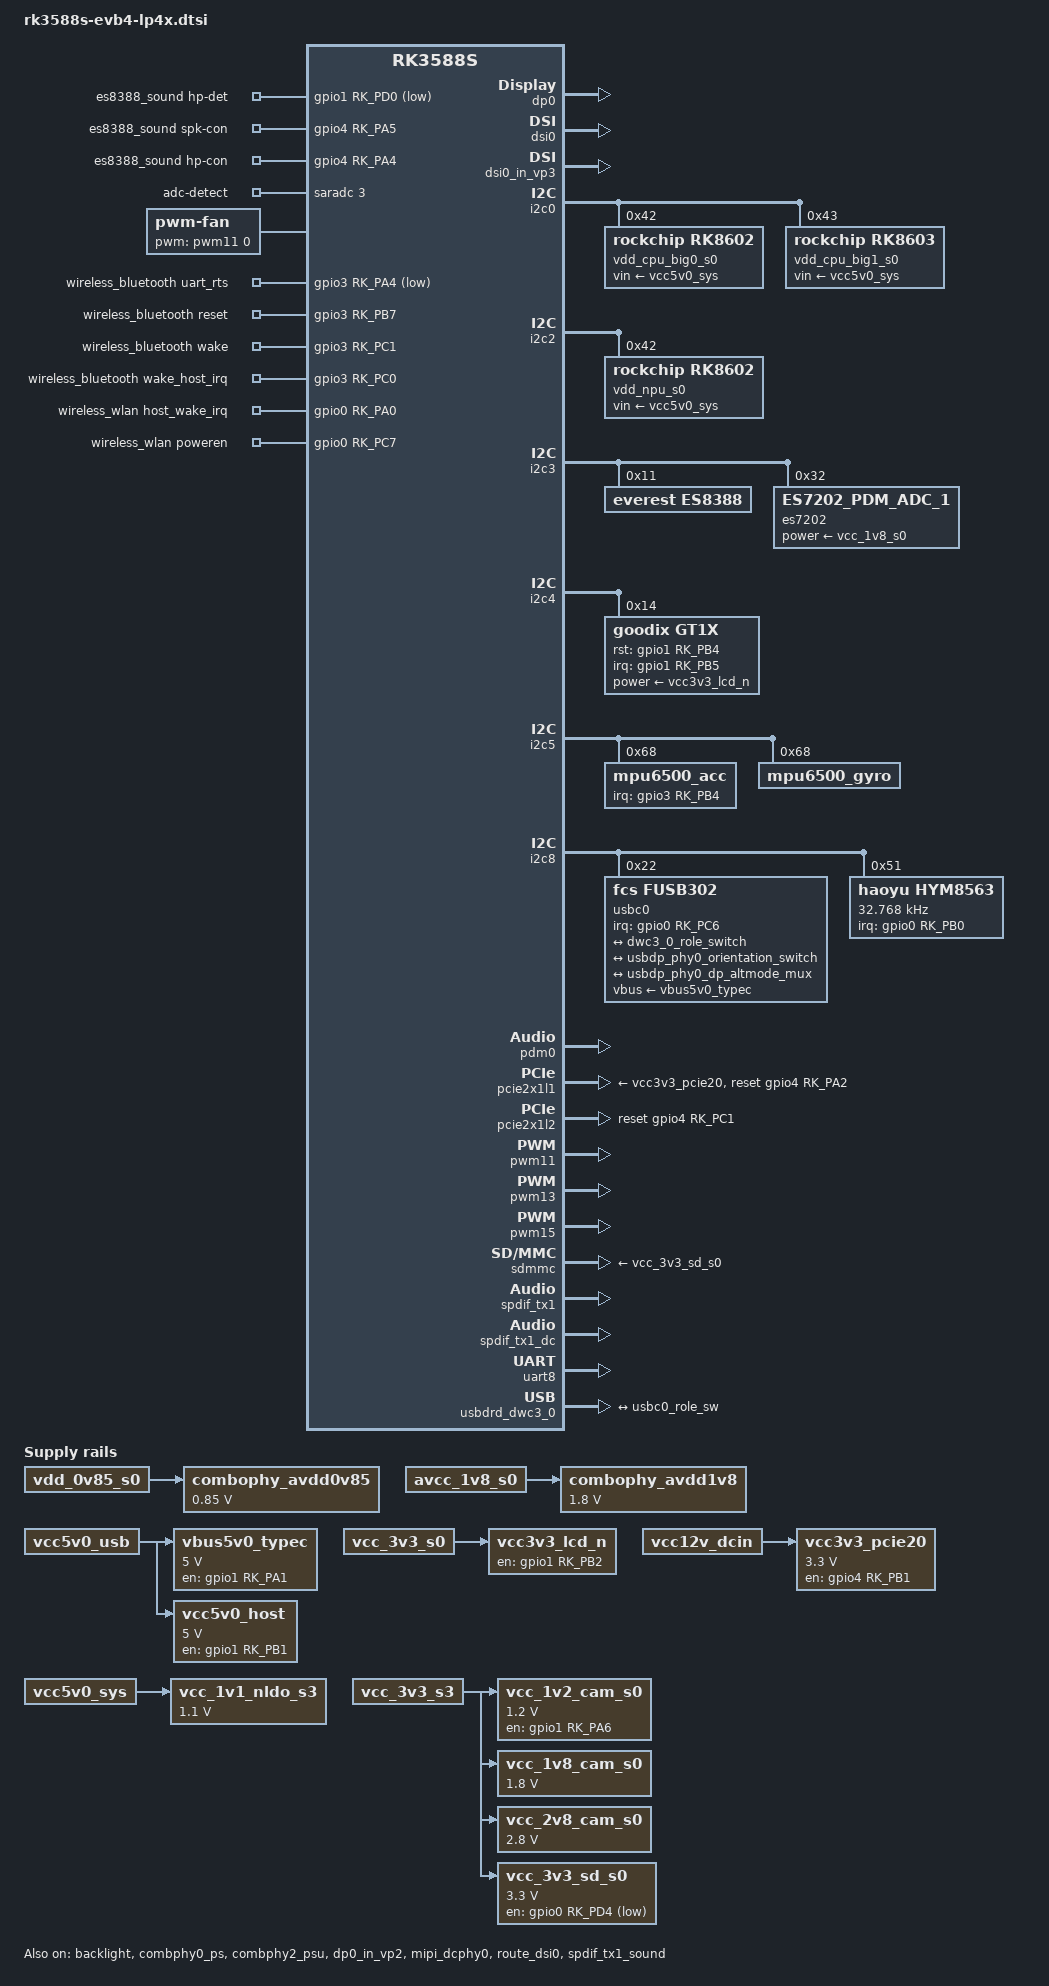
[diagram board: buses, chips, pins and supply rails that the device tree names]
// SPDX-License-Identifier: (GPL-2.0+ OR MIT)
/*
 * Copyright (c) 2021 Rockchip Electronics Co., Ltd.
 *
 */

#include "dt-bindings/usb/pd.h"
#include "rk3588s.dtsi"
#include "rk3588s-evb.dtsi"
#include "rk3588-rk806-single.dtsi"

/ {
	combophy_avdd0v85: combophy-avdd0v85 {
		compatible = "regulator-fixed";
		regulator-name = "combophy_avdd0v85";
		regulator-boot-on;
		regulator-always-on;
		regulator-min-microvolt = <850000>;
		regulator-max-microvolt = <850000>;
		vin-supply = <&vdd_0v85_s0>;
	};

	combophy_avdd1v8: combophy-avdd1v8 {
		compatible = "regulator-fixed";
		regulator-name = "combophy_avdd1v8";
		regulator-boot-on;
		regulator-always-on;
		regulator-min-microvolt = <1800000>;
		regulator-max-microvolt = <1800000>;
		vin-supply = <&avcc_1v8_s0>;
	};

	es7202_sound_micarray: es7202-sound-micarray {
		status = "okay";
		compatible = "simple-audio-card";
		simple-audio-card,format = "i2s";
		simple-audio-card,name = "rockchip,sound-micarray";
		simple-audio-card,mclk-fs = <256>;
		simple-audio-card,dai-link@0 {
			format = "pdm";
			cpu {
				sound-dai = <&pdm0>;
			};
			codec {
				sound-dai = <&es7202>;
			};
		};
	};

	es8388_sound: es8388-sound {
		status = "okay";
		compatible = "rockchip,multicodecs-card";
		rockchip,card-name = "rockchip-es8388";
		hp-det-gpio = <&gpio1 RK_PD0 GPIO_ACTIVE_LOW>;
		io-channels = <&saradc 3>;
		io-channel-names = "adc-detect";
		keyup-threshold-microvolt = <1800000>;
		poll-interval = <100>;
		spk-con-gpio = <&gpio4 RK_PA5 GPIO_ACTIVE_HIGH>;
		hp-con-gpio = <&gpio4 RK_PA4 GPIO_ACTIVE_HIGH>;
		rockchip,format = "i2s";
		rockchip,mclk-fs = <256>;
		rockchip,cpu = <&i2s0_8ch>;
		rockchip,codec = <&es8388>;
		rockchip,audio-routing =
			"Headphone", "LOUT1",
			"Headphone", "ROUT1",
			"Speaker", "LOUT2",
			"Speaker", "ROUT2",
			"Headphone", "Headphone Power",
			"Headphone", "Headphone Power",
			"Speaker", "Speaker Power",
			"Speaker", "Speaker Power",
			"LINPUT1", "Main Mic",
			"LINPUT2", "Main Mic",
			"RINPUT1", "Headset Mic",
			"RINPUT2", "Headset Mic";
		pinctrl-names = "default";
		pinctrl-0 = <&hp_det>;
		play-pause-key {
			label = "playpause";
			linux,code = <KEY_PLAYPAUSE>;
			press-threshold-microvolt = <2000>;
		};
	};

	fan: pwm-fan {
		compatible = "pwm-fan";
		#cooling-cells = <2>;
		pwms = <&pwm11 0 50000 0>;
	};

	vbus5v0_typec: vbus5v0-typec {
		compatible = "regulator-fixed";
		regulator-name = "vbus5v0_typec";
		regulator-min-microvolt = <5000000>;
		regulator-max-microvolt = <5000000>;
		enable-active-high;
		gpio = <&gpio1 RK_PA1 GPIO_ACTIVE_HIGH>;
		vin-supply = <&vcc5v0_usb>;
		pinctrl-names = "default";
		pinctrl-0 = <&typec5v_pwren>;
	};

	vcc3v3_lcd_n: vcc3v3-lcd0-n {
		compatible = "regulator-fixed";
		regulator-name = "vcc3v3_lcd0_n";
		regulator-boot-on;
		enable-active-high;
		gpio = <&gpio1 RK_PB2 GPIO_ACTIVE_HIGH>;
		vin-supply = <&vcc_3v3_s0>;
	};

	vcc3v3_pcie20: vcc3v3-pcie20 {
		compatible = "regulator-fixed";
		regulator-name = "vcc3v3_pcie20";
		regulator-min-microvolt = <3300000>;
		regulator-max-microvolt = <3300000>;
		enable-active-high;
		gpios = <&gpio4 RK_PB1 GPIO_ACTIVE_HIGH>;
		startup-delay-us = <5000>;
		vin-supply = <&vcc12v_dcin>;
	};

	vcc5v0_host: vcc5v0-host {
		compatible = "regulator-fixed";
		regulator-name = "vcc5v0_host";
		regulator-boot-on;
		regulator-always-on;
		regulator-min-microvolt = <5000000>;
		regulator-max-microvolt = <5000000>;
		enable-active-high;
		gpio = <&gpio1 RK_PB1 GPIO_ACTIVE_HIGH>;
		vin-supply = <&vcc5v0_usb>;
		pinctrl-names = "default";
		pinctrl-0 = <&vcc5v0_host_en>;
	};

	vcc_1v1_nldo_s3: vcc-1v1-nldo-s3 {
		compatible = "regulator-fixed";
		regulator-name = "vcc_1v1_nldo_s3";
		regulator-always-on;
		regulator-boot-on;
		regulator-min-microvolt = <1100000>;
		regulator-max-microvolt = <1100000>;
		vin-supply = <&vcc5v0_sys>;
	};

	vcc_1v2_cam_s0: vcc-1v2-cam-s0 {
		compatible = "regulator-fixed";
		regulator-name = "vcc_1v2_cam_s0";
		regulator-min-microvolt = <1200000>;
		regulator-max-microvolt = <1200000>;
		gpios = <&gpio1 RK_PA6 GPIO_ACTIVE_HIGH>;
		enable-active-high;
		vin-supply = <&vcc_3v3_s3>;
		regulator-state-mem {
			regulator-off-in-suspend;
		};
	};

	vcc_1v8_cam_s0: vcc-1v8-cam-s0 {
		compatible = "regulator-fixed";
		regulator-name = "vcc_1v8_cam_s0";
		regulator-min-microvolt = <1800000>;
		regulator-max-microvolt = <1800000>;
		vin-supply = <&vcc_3v3_s3>;
	};

	vcc_2v8_cam_s0: vcc-2v8-cam-s0 {
		compatible = "regulator-fixed";
		regulator-name = "vcc_2v8_cam_s0";
		regulator-min-microvolt = <2800000>;
		regulator-max-microvolt = <2800000>;
		vin-supply = <&vcc_3v3_s3>;
	};

	vcc_3v3_sd_s0: vcc-3v3-sd-s0 {
		compatible = "regulator-fixed";
		regulator-name = "vcc_3v3_sd_s0";
		regulator-min-microvolt = <3300000>;
		regulator-max-microvolt = <3300000>;
		gpios = <&gpio0 RK_PD4 GPIO_ACTIVE_LOW>;
		enable-active-low;
		vin-supply = <&vcc_3v3_s3>;
			regulator-state-mem {
			regulator-off-in-suspend;
		};
	};

	wireless_bluetooth: wireless-bluetooth {
		compatible = "bluetooth-platdata";
		clocks = <&hym8563>;
		clock-names = "ext_clock";
		uart_rts_gpios = <&gpio3 RK_PA4 GPIO_ACTIVE_LOW>;
		pinctrl-names = "default", "rts_gpio";
		pinctrl-0 = <&uart8m1_rtsn>, <&bt_reset_gpio>, <&bt_wake_gpio>, <&bt_wake_host_irq>;
		pinctrl-1 = <&uart8_gpios>;
		BT,reset_gpio    = <&gpio3 RK_PB7 GPIO_ACTIVE_HIGH>;
		BT,wake_gpio     = <&gpio3 RK_PC1 GPIO_ACTIVE_HIGH>;
		BT,wake_host_irq = <&gpio3 RK_PC0 GPIO_ACTIVE_HIGH>;
		status = "okay";
	};

	wireless_wlan: wireless-wlan {
		compatible = "wlan-platdata";
		wifi_chip_type = "ap6255";
		pinctrl-names = "default";
		pinctrl-0 = <&wifi_host_wake_irq>, <&wifi_poweren_gpio>;
		WIFI,host_wake_irq = <&gpio0 RK_PA0 GPIO_ACTIVE_HIGH>;
		WIFI,poweren_gpio = <&gpio0 RK_PC7 GPIO_ACTIVE_HIGH>;
		status = "okay";
	};
};

&backlight {
	pwms = <&pwm13 0 25000 0>;
	status = "okay";
};

&combphy0_ps {
	status = "okay";
};

&combphy2_psu {
	status = "okay";
};

&dp0 {
	status = "okay";
};

&dp0_in_vp2 {
	status = "okay";
};

/*
 * mipi_dcphy0 needs to be enabled
 * when dsi0 is enabled
 */
&dsi0 {
	status = "okay";
};

&dsi0_in_vp2 {
	status = "disabled";
};

&dsi0_in_vp3 {
	status = "okay";
};

&dsi0_panel {
	power-supply = <&vcc3v3_lcd_n>;
	reset-gpios = <&gpio1 RK_PA4 GPIO_ACTIVE_LOW>;
	pinctrl-names = "default";
	pinctrl-0 = <&lcd_rst_gpio>;
};

/*
 * mipi_dcphy1 needs to be enabled
 * when dsi1 is enabled
 */
&dsi1 {
	//rockchip,lane-rate = <650>;
	pinctrl-names = "default";
	pinctrl-0 = <&mipi_te1>;
	status = "disabled";
};

&dsi1_in_vp2 {
	status = "disabled";
};

&dsi1_in_vp3 {
	status = "disabled";
};

&dsi1_panel {
	power-supply = <&vcc3v3_lcd_n>;
	compressed-data;
	/*
	 * because in hardware, the two screens share the reset pin,
	 * so reset-gpios need only in dsi1 enable and dsi0 disabled
	 * case.
	 */

	//reset-gpios = <&gpio1 RK_PA4 GPIO_ACTIVE_LOW>;
	//pinctrl-names = "default";
	//pinctrl-0 = <&lcd_rst_gpio>;

	dsi,flags = <(MIPI_DSI_MODE_LPM | MIPI_DSI_MODE_EOT_PACKET)>;

	slice-width = <720>;
	slice-height = <65>;
	version-major = <1>;
	version-minor = <1>;

	panel-init-sequence = [
		29 10 03 f0 5a 5a
		/* Dsc Setting */
		/* Compression Enable */
		07 10 01 01
		/* Scaler Disable */
		15 10 02 c3 00
		/* PPS Setting */
		0a 31 59 10 00 00 89 30 80 0c 30 05 a0 00 41 02 d0 02 d0 02 00 02 c2 00 20 06 58 00 0a 00 0f 01 e0 01 2d 18 00 10 f0 03 0c 20 00 06 0b 0b 33 0e 1c 2a 38 46 54 62 69 70 77 79 7b 7d 7e 01 02 01 00 09 40 09 be 19 fc 19 fa 19 f8 1a 38 1a 78 1a b6 2a b6 2a f4 2a f4 4b 34 63 74 00
		29 10 03 f0 a5 a5
		/** Sleep Out */
		05 00 01 11
		/* 4. Common Setting */
		/* 4.1 TE(Vync) ON/OFF */
		15 00 02 35 00
		/* 4.2 CASET/PASET Setting */
		39 00 05 2a 00 00 05 9F
		39 00 05 2b 00 00 0c 2f
		/* 4.3 TSP SYNC Setting */
		39 00 03 f0 5a 5a
		39 00 0a B9 01 c0 3c 0b 00 00 00 11 03
		39 00 03 f0 a5 a5
		/* FD(Fast Discharge) Setting */
		39 00 03 f0 5a 5a
		15 00 02 b0 45
		15 00 02 b5 48
		39 00 03 f0 a5 a5
		/* 4.6 FFC Setting (MIPI CLK 529MHz) */
		39 00 03 f0 5a 5a
		39 00 03 fc 5a 5a
		15 00 02 b0 1E
		39 00 06 c5 09 10 b4 24 fb
		39 00 03 f0 a5 a5
		39 00 03 fc a5 a5
		/* OSC Spread Setting */
		39 00 03 f0 5a 5a
		39 00 03 fc 5a 5a
		15 00 02 b0 37
		/* FFC Setting; 0x04 : Disable */
		39 00 06 c5 04 ff 00 01 64
		39 00 03 f0 a5 a5
		39 00 03 fc a5 a5
		/* Dither IP Setting */
		39 00 03 FC 5A 5A
		15 00 02 b0 86
		15 00 02 eb 01
		39 00 03 FC a5 a5
		/* 5 Brightness Control */
		/* 5.1 Dimming Setting */
		39 10 03 f0 5a 5a
		15 10 02 b0 05
		15 10 02 b1 01
		15 10 02 b0 02
		15 10 02 b5 d3
		15 10 02 53 20
		39 10 03 f0 a5 a5
		39 10 03 51 02 ff
		05 32 01 29
	];

	panel-exit-sequence = [
		/* Display off */
		05 14 01 28
		/* Sleep In */
		05 00 01 10
		/* VCI stabilization setting */
		39 00 03 f0 5a 5a
		15 00 02 b0 05
		15 00 02 f4 01
		39 a0 03 f0 a5 a5
	];

	disp_timings1: display-timings {
		native-mode = <&dsi1_timing0>;
		dsi1_timing0: timing0 {
			clock-frequency = <280000000>;
			hactive = <1140>;
			vactive = <3120>;
			hfront-porch = <16>;
			hsync-len = <8>;
			hback-porch = <8>;
			vfront-porch = <4>;
			vsync-len = <2>;
			vback-porch = <16>;
			hsync-active = <0>;
			vsync-active = <0>;
			de-active = <0>;
			pixelclk-active = <0>;
		};
	};
};

&i2c0 {
	status = "okay";
	pinctrl-names = "default";
	pinctrl-0 = <&i2c0m2_xfer>;

	vdd_cpu_big0_s0: vdd_cpu_big0_mem_s0: rk8602@42 {
		compatible = "rockchip,rk8602";
		reg = <0x42>;
		vin-supply = <&vcc5v0_sys>;
		regulator-compatible = "rk860x-reg";
		regulator-name = "vdd_cpu_big0_s0";
		regulator-min-microvolt = <550000>;
		regulator-max-microvolt = <1050000>;
		regulator-ramp-delay = <2300>;
		rockchip,suspend-voltage-selector = <1>;
		regulator-boot-on;
		regulator-always-on;
		regulator-state-mem {
			regulator-off-in-suspend;
		};
	};

	vdd_cpu_big1_s0: vdd_cpu_big1_mem_s0: rk8603@43 {
		compatible = "rockchip,rk8603";
		reg = <0x43>;
		vin-supply = <&vcc5v0_sys>;
		regulator-compatible = "rk860x-reg";
		regulator-name = "vdd_cpu_big1_s0";
		regulator-min-microvolt = <550000>;
		regulator-max-microvolt = <1050000>;
		regulator-ramp-delay = <2300>;
		rockchip,suspend-voltage-selector = <1>;
		regulator-boot-on;
		regulator-always-on;
		regulator-state-mem {
			regulator-off-in-suspend;
		};
	};
};

&i2c2 {
	status = "okay";

	vdd_npu_s0: vdd_npu_mem_s0: rk8602@42 {
		compatible = "rockchip,rk8602";
		reg = <0x42>;
		vin-supply = <&vcc5v0_sys>;
		regulator-compatible = "rk860x-reg";
		regulator-name = "vdd_npu_s0";
		regulator-min-microvolt = <550000>;
		regulator-max-microvolt = <950000>;
		regulator-ramp-delay = <2300>;
		rockchip,suspend-voltage-selector = <1>;
		regulator-boot-on;
		regulator-always-on;
		regulator-state-mem {
			regulator-off-in-suspend;
		};
	};
};

&i2c3 {
	status = "okay";

	es8388: es8388@11 {
		status = "okay";
		#sound-dai-cells = <0>;
		compatible = "everest,es8388", "everest,es8323";
		reg = <0x11>;
		clocks = <&cru I2S0_8CH_MCLKOUT>;
		clock-names = "mclk";
		pinctrl-names = "default";
		pinctrl-0 = <&i2s0_mclk>;
	};

	es7202: es7202@32 {
		status = "okay";
		#sound-dai-cells = <0>;
		compatible = "ES7202_PDM_ADC_1";
		power-supply = <&vcc_1v8_s0>;	/* only 1v8 or 3v3, default is 3v3 */
		reg = <0x32>;
	};
};

&i2c4 {
	status = "okay";
	pinctrl-names = "default";
	pinctrl-0 = <&i2c4m3_xfer>;

	gt1x: gt1x@14 {
		compatible = "goodix,gt1x";
		reg = <0x14>;
		pinctrl-names = "default";
		pinctrl-0 = <&touch_gpio>;
		goodix,rst-gpio = <&gpio1 RK_PB4 GPIO_ACTIVE_HIGH>;
		goodix,irq-gpio = <&gpio1 RK_PB5 IRQ_TYPE_LEVEL_LOW>;
		power-supply = <&vcc3v3_lcd_n>;
	};
};

&i2c5 {
	status = "okay";

	ls_stk3332: light@47 {
		compatible = "ls_stk3332";
		status = "disabled";
		reg = <0x47>;
		type = <SENSOR_TYPE_LIGHT>;
		irq_enable = <0>;
		als_threshold_high = <100>;
		als_threshold_low = <10>;
		als_ctrl_gain = <2>; /* 0:x1 1:x4 2:x16 3:x64 */
		poll_delay_ms = <100>;
	};

	ps_stk3332: proximity@47 {
		compatible = "ps_stk3332";
		status = "disabled";
		reg = <0x47>;
		type = <SENSOR_TYPE_PROXIMITY>;
		//pinctrl-names = "default";
		//pinctrl-0 = <&gpio3_c6>;
		//irq-gpio = <&gpio3 RK_PC6 IRQ_TYPE_LEVEL_LOW>;
		//irq_enable = <1>;
		ps_threshold_high = <0x200>;
		ps_threshold_low = <0x100>;
		ps_ctrl_gain = <3>; /* 0:x1 1:x2 2:x5 3:x8 */
		ps_led_current = <4>; /* 0:3.125mA 1:6.25mA 2:12.5mA 3:25mA 4:50mA 5:100mA*/
		poll_delay_ms = <100>;
	};

	mpu6500_acc: mpu_acc@68 {
		compatible = "mpu6500_acc";
		reg = <0x68>;
		irq-gpio = <&gpio3 RK_PB4 IRQ_TYPE_EDGE_RISING>;
		irq_enable = <0>;
		poll_delay_ms = <30>;
		type = <SENSOR_TYPE_ACCEL>;
		layout = <8>;
	};

	mpu6500_gyro: mpu_gyro@68 {
		compatible = "mpu6500_gyro";
		reg = <0x68>;
		irq_enable = <0>;
		poll_delay_ms = <30>;
		type = <SENSOR_TYPE_GYROSCOPE>;
		layout = <8>;
	};
};

&i2c8 {
	status = "okay";
	pinctrl-names = "default";
	pinctrl-0 = <&i2c8m2_xfer>;

	usbc0: fusb302@22 {
		compatible = "fcs,fusb302";
		reg = <0x22>;
		interrupt-parent = <&gpio0>;
		interrupts = <RK_PC6 IRQ_TYPE_LEVEL_LOW>;
		pinctrl-names = "default";
		pinctrl-0 = <&usbc0_int>;
		vbus-supply = <&vbus5v0_typec>;
		status = "okay";

		ports {
			#address-cells = <1>;
			#size-cells = <0>;

			port@0 {
				reg = <0>;
				usbc0_role_sw: endpoint@0 {
					remote-endpoint = <&dwc3_0_role_switch>;
				};
			};
		};

		usb_con: connector {
			compatible = "usb-c-connector";
			label = "USB-C";
			data-role = "dual";
			power-role = "dual";
			try-power-role = "sink";
			op-sink-microwatt = <1000000>;
			sink-pdos =
				<PDO_FIXED(5000, 1000, PDO_FIXED_USB_COMM)>;
			source-pdos =
				<PDO_FIXED(5000, 3000, PDO_FIXED_USB_COMM)>;

			altmodes {
				#address-cells = <1>;
				#size-cells = <0>;

				altmode@0 {
					reg = <0>;
					svid = <0xff01>;
					vdo = <0xffffffff>;
				};
			};

			ports {
				#address-cells = <1>;
				#size-cells = <0>;

				port@0 {
					reg = <0>;
					usbc0_orien_sw: endpoint {
						remote-endpoint = <&usbdp_phy0_orientation_switch>;
					};
				};

				port@1 {
					reg = <1>;
					dp_altmode_mux: endpoint {
						remote-endpoint = <&usbdp_phy0_dp_altmode_mux>;
					};
				};
			};
		};
	};

	hym8563: hym8563@51 {
		compatible = "haoyu,hym8563";
		reg = <0x51>;
		#clock-cells = <0>;
		clock-frequency = <32768>;
		clock-output-names = "hym8563";
		pinctrl-names = "default";
		pinctrl-0 = <&hym8563_int>;
		interrupt-parent = <&gpio0>;
		interrupts = <RK_PB0 IRQ_TYPE_LEVEL_LOW>;
		wakeup-source;
		status = "okay";
	};
};

&mipi_dcphy0 {
	status = "okay";
};

&mipi_dcphy1 {
	status = "disabled";
};

&pdm0 {
	status = "okay";
};

&pcie2x1l1 {
	reset-gpios = <&gpio4 RK_PA2 GPIO_ACTIVE_HIGH>;
	vpcie3v3-supply = <&vcc3v3_pcie20>;
	status = "okay";
};

&pcie2x1l2 {
	reset-gpios = <&gpio4 RK_PC1 GPIO_ACTIVE_HIGH>;
	rockchip,skip-scan-in-resume;
	status = "okay";
};

&pinctrl {
	headphone {
		hp_det: hp-det {
			rockchip,pins = <1 RK_PD0 RK_FUNC_GPIO &pcfg_pull_none>;
		};
	};

	hym8563 {
		hym8563_int: hym8563-int {
			rockchip,pins = <0 RK_PB0 RK_FUNC_GPIO &pcfg_pull_up>;
		};
	};

	lcd {
		lcd_rst_gpio: lcd-rst-gpio {
			rockchip,pins = <1 RK_PA4 RK_FUNC_GPIO &pcfg_pull_none>;
		};
	};

	sensor {
		mpu6500_irq_gpio: mpu6500_irq_gpio {
			rockchip,pins = <3 RK_PB4 RK_FUNC_GPIO &pcfg_pull_none>;
		};
	};

	touch {
		touch_gpio: touch-gpio {
			rockchip,pins =
				<1 RK_PB4 RK_FUNC_GPIO &pcfg_pull_up>,
				<1 RK_PB5 RK_FUNC_GPIO &pcfg_pull_none>;
		};
	};

	usb {
		vcc5v0_host_en: vcc5v0-host-en {
			rockchip,pins = <1 RK_PB1 RK_FUNC_GPIO &pcfg_pull_none>;
		};
	};

	usb-typec {
		usbc0_int: usbc0-int {
			rockchip,pins = <0 RK_PC6 RK_FUNC_GPIO &pcfg_pull_up>;
		};

		typec5v_pwren: typec5v-pwren {
			rockchip,pins = <1 RK_PA1 RK_FUNC_GPIO &pcfg_pull_none>;
		};
	};

	wireless-bluetooth {
		uart8_gpios: uart8-gpios {
			rockchip,pins = <3 RK_PA4 RK_FUNC_GPIO &pcfg_pull_none>;
		};

		bt_reset_gpio: bt-reset-gpio {
			rockchip,pins = <3 RK_PB7 RK_FUNC_GPIO &pcfg_pull_none>;
		};

		bt_wake_gpio: bt-wake-gpio {
			rockchip,pins = <3 RK_PC1 RK_FUNC_GPIO &pcfg_pull_none>;
		};

		bt_wake_host_irq: bt-wake-host-irq {
			rockchip,pins = <3 RK_PC0 RK_FUNC_GPIO &pcfg_pull_down>;
		};
	};

	wireless-wlan {
		wifi_host_wake_irq: wifi-host-wake-irq {
			rockchip,pins = <0 RK_PA0 RK_FUNC_GPIO &pcfg_pull_down>;
		};

		wifi_poweren_gpio: wifi-poweren-gpio {
			rockchip,pins = <0 RK_PC7 RK_FUNC_GPIO &pcfg_pull_up>;
		};
	};
};

&pwm11 {
	pinctrl-0 = <&pwm11m1_pins>;
	status = "okay";
};

&pwm13 {
	status = "okay";
	pinctrl-names = "active";
	pinctrl-0 = <&pwm13m1_pins>;
};

&pwm15 {
	compatible = "rockchip,remotectl-pwm";
	pinctrl-names = "default";
	pinctrl-0 = <&pwm15m0_pins>;
	remote_pwm_id = <3>;
	handle_cpu_id = <1>;
	remote_support_psci = <0>;
	status = "okay";

	ir_key1 {
		rockchip,usercode = <0x4040>;
		rockchip,key_table =
			<0xf2   KEY_REPLY>,
			<0xba   KEY_BACK>,
			<0xf4   KEY_UP>,
			<0xf1   KEY_DOWN>,
			<0xef   KEY_LEFT>,
			<0xee   KEY_RIGHT>,
			<0xbd   KEY_HOME>,
			<0xea   KEY_VOLUMEUP>,
			<0xe3   KEY_VOLUMEDOWN>,
			<0xe2   KEY_SEARCH>,
			<0xb2   KEY_POWER>,
			<0xbc   KEY_MUTE>,
			<0xec   KEY_MENU>,
			<0xbf   0x190>,
			<0xe0   0x191>,
			<0xe1   0x192>,
			<0xe9   183>,
			<0xe6   248>,
			<0xe8   185>,
			<0xe7   186>,
			<0xf0   388>,
			<0xbe   0x175>;
	};

	ir_key2 {
		rockchip,usercode = <0xff00>;
		rockchip,key_table =
			<0xf9   KEY_HOME>,
			<0xbf   KEY_BACK>,
			<0xfb   KEY_MENU>,
			<0xaa   KEY_REPLY>,
			<0xb9   KEY_UP>,
			<0xe9   KEY_DOWN>,
			<0xb8   KEY_LEFT>,
			<0xea   KEY_RIGHT>,
			<0xeb   KEY_VOLUMEDOWN>,
			<0xef   KEY_VOLUMEUP>,
			<0xf7   KEY_MUTE>,
			<0xe7   KEY_POWER>,
			<0xfc   KEY_POWER>,
			<0xa9   KEY_VOLUMEDOWN>,
			<0xa8   KEY_PLAYPAUSE>,
			<0xe0   KEY_VOLUMEDOWN>,
			<0xa5   KEY_VOLUMEDOWN>,
			<0xab   183>,
			<0xb7   388>,
			<0xe8   388>,
			<0xf8   184>,
			<0xaf   185>,
			<0xed   KEY_VOLUMEDOWN>,
			<0xee   186>,
			<0xb3   KEY_VOLUMEDOWN>,
			<0xf1   KEY_VOLUMEDOWN>,
			<0xf2   KEY_VOLUMEDOWN>,
			<0xf3   KEY_SEARCH>,
			<0xb4   KEY_VOLUMEDOWN>,
			<0xa4   KEY_SETUP>,
			<0xbe   KEY_SEARCH>;
	};

	ir_key3 {
		rockchip,usercode = <0x1dcc>;
		rockchip,key_table =
			<0xee   KEY_REPLY>,
			<0xf0   KEY_BACK>,
			<0xf8   KEY_UP>,
			<0xbb   KEY_DOWN>,
			<0xef   KEY_LEFT>,
			<0xed   KEY_RIGHT>,
			<0xfc   KEY_HOME>,
			<0xf1   KEY_VOLUMEUP>,
			<0xfd   KEY_VOLUMEDOWN>,
			<0xb7   KEY_SEARCH>,
			<0xff   KEY_POWER>,
			<0xf3   KEY_MUTE>,
			<0xbf   KEY_MENU>,
			<0xf9   0x191>,
			<0xf5   0x192>,
			<0xb3   388>,
			<0xbe   KEY_1>,
			<0xba   KEY_2>,
			<0xb2   KEY_3>,
			<0xbd   KEY_4>,
			<0xf9   KEY_5>,
			<0xb1   KEY_6>,
			<0xfc   KEY_7>,
			<0xf8   KEY_8>,
			<0xb0   KEY_9>,
			<0xb6   KEY_0>,
			<0xb5   KEY_BACKSPACE>;
	};
};

&route_dsi0 {
	status = "okay";
	connect = <&vp3_out_dsi0>;
};

&route_dsi1 {
	status = "disabled";
	connect = <&vp3_out_dsi1>;
};

&sdmmc {
	status = "okay";
	vmmc-supply = <&vcc_3v3_sd_s0>;
};

&spdif_tx1 {
	status = "okay";
	pinctrl-names = "default";
	pinctrl-0 = <&spdif1m1_tx>;
};

&spdif_tx1_dc {
	status = "okay";
};

&spdif_tx1_sound {
	status = "okay";
};

&spi2 {
	pinctrl-names = "default";
	pinctrl-0 = <&spi2m2_cs0 &spi2m2_pins>;
	num-cs = <1>;
};

&u2phy0_otg {
	rockchip,typec-vbus-det;
};

&u2phy2_host {
	phy-supply = <&vcc5v0_host>;
};

&u2phy3_host {
	phy-supply = <&vcc5v0_host>;
};

&uart8 {
	status = "okay";
	pinctrl-names = "default";
	pinctrl-0 = <&uart8m1_xfer &uart8m1_ctsn>;
};

&usbdp_phy0 {
	orientation-switch;
	svid = <0xff01>;
	sbu1-dc-gpios = <&gpio1 RK_PB6 GPIO_ACTIVE_HIGH>;
	sbu2-dc-gpios = <&gpio1 RK_PB7 GPIO_ACTIVE_HIGH>;

	port {
		#address-cells = <1>;
		#size-cells = <0>;
		usbdp_phy0_orientation_switch: endpoint@0 {
			reg = <0>;
			remote-endpoint = <&usbc0_orien_sw>;
		};

		usbdp_phy0_dp_altmode_mux: endpoint@1 {
			reg = <1>;
			remote-endpoint = <&dp_altmode_mux>;
		};
	};
};

&usbdrd_dwc3_0 {
	usb-role-switch;
	port {
		#address-cells = <1>;
		#size-cells = <0>;
		dwc3_0_role_switch: endpoint@0 {
			reg = <0>;
			remote-endpoint = <&usbc0_role_sw>;
		};
	};
};

&usbhost3_0 {
	status = "disabled";
};

&usbhost_dwc3_0 {
	status = "disabled";
};
